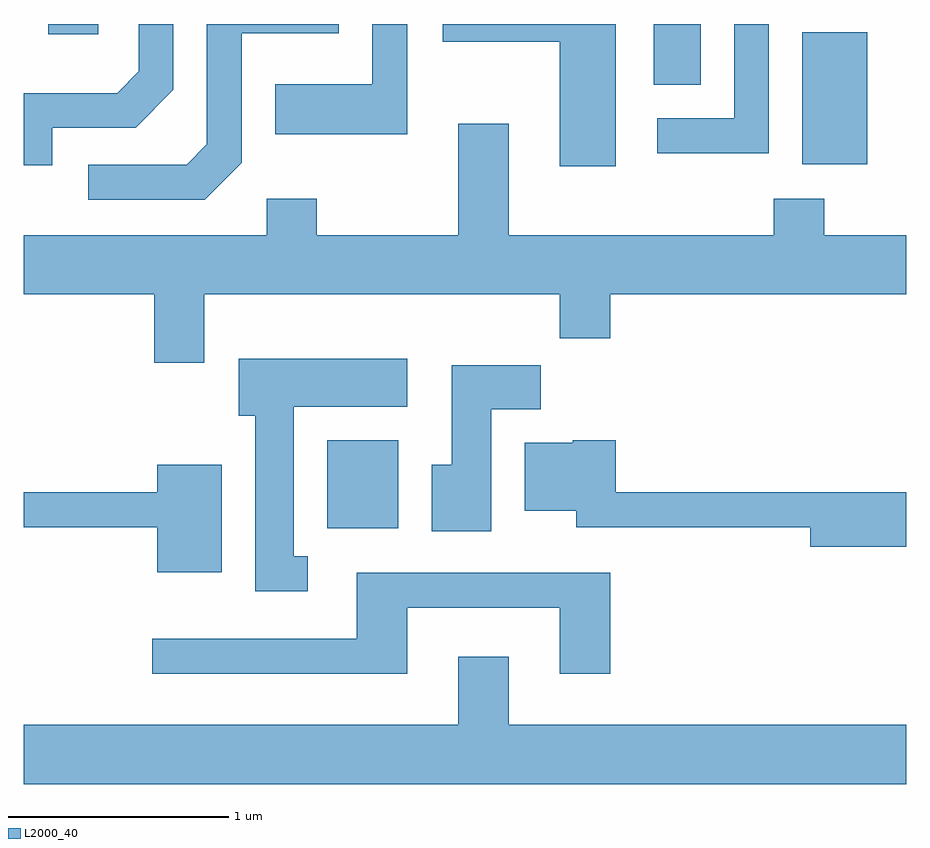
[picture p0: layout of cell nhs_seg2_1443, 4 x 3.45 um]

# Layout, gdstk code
import gdstk
lib = gdstk.Library(unit=1e-6, precision=1e-09)
def R(c, l, rs):  # rectangles x0, y0, x1, y1
    for r in rs: c.add(gdstk.rectangle(r[:2], r[2:], *l))
def P(c, l, *ps):  # polygons
    for p in ps: c.add(gdstk.Polygon(p, *l))
L2000_40 = (2000, 40)

nhs_seg2_1443 = lib.new_cell('nhs_seg2_1443')
R(nhs_seg2_1443, L2000_40, [(228.986,1009.516,229.309,1009.914), (231.141,1011.166,231.434,1011.764), (230.466,1011.526,230.679,1011.802), (227.721,1011.756,227.949,1011.802)])
P(nhs_seg2_1443, L2000_40, [(228.599,1011.174),(228.599,1011.761),(229.039,1011.761),(229.039,1011.802),(228.441,1011.802),(228.441,1011.257),(228.349,1011.164),(227.903,1011.164),(227.903,1011.006),(228.432,1011.006)],
  [(227.739,1011.331),(228.117,1011.331),(228.289,1011.504),(228.289,1011.802),(228.131,1011.802),(228.131,1011.587),(228.034,1011.489),(227.611,1011.489),(227.611,1011.161),(227.739,1011.161)],
  [(229.349,1011.802),(229.191,1011.802),(229.191,1011.529),(228.751,1011.529),(228.751,1011.301),(229.349,1011.301)],
  [(230.989,1011.802),(230.831,1011.802),(230.831,1011.374),(230.483,1011.374),(230.483,1011.216),(230.989,1011.216)],
  [(230.294,1011.802),(229.511,1011.802),(229.511,1011.721),(230.041,1011.721),(230.041,1011.156),(230.294,1011.156)],
  [(228.429,1010.576),(230.041,1010.576),(230.041,1010.376),(230.269,1010.376),(230.269,1010.576),(231.611,1010.576),(231.611,1010.844),(231.239,1010.844),(231.239,1011.009),(231.011,1011.009),(231.011,1010.844),(229.809,1010.844),(229.809,1011.349),(229.581,1011.349),(229.581,1010.844),(228.939,1010.844),(228.939,1011.009),(228.711,1011.009),(228.711,1010.844),(227.611,1010.844),(227.611,1010.576),(228.201,1010.576),(228.201,1010.266),(228.429,1010.266)],
  [(228.898,1009.389),(228.834,1009.389),(228.834,1010.066),(229.349,1010.066),(229.349,1010.284),(228.586,1010.284),(228.586,1010.026),(228.661,1010.026),(228.661,1009.231),(228.898,1009.231)],
  [(229.729,1010.056),(229.954,1010.056),(229.954,1010.254),(229.551,1010.254),(229.551,1009.804),(229.461,1009.804),(229.461,1009.501),(229.729,1009.501)],
  [(231.611,1009.679),(230.294,1009.679),(230.294,1009.914),(230.1,1009.914),(230.1,1009.904),(229.881,1009.904),(229.881,1009.596),(230.116,1009.596),(230.116,1009.521),(231.176,1009.521),(231.176,1009.431),(231.611,1009.431)],
  [(228.509,1009.804),(228.216,1009.804),(228.216,1009.679),(227.611,1009.679),(227.611,1009.521),(228.216,1009.521),(228.216,1009.316),(228.509,1009.316)],
  [(229.349,1009.156),(230.041,1009.156),(230.041,1008.856),(230.269,1008.856),(230.269,1009.314),(229.121,1009.314),(229.121,1009.014),(228.193,1009.014),(228.193,1008.856),(229.349,1008.856)],
  [(231.611,1008.624),(229.809,1008.624),(229.809,1008.934),(229.581,1008.934),(229.581,1008.624),(227.611,1008.624),(227.611,1008.356),(231.611,1008.356)])

lib.write_gds('nhs_seg2_1443.gds')
